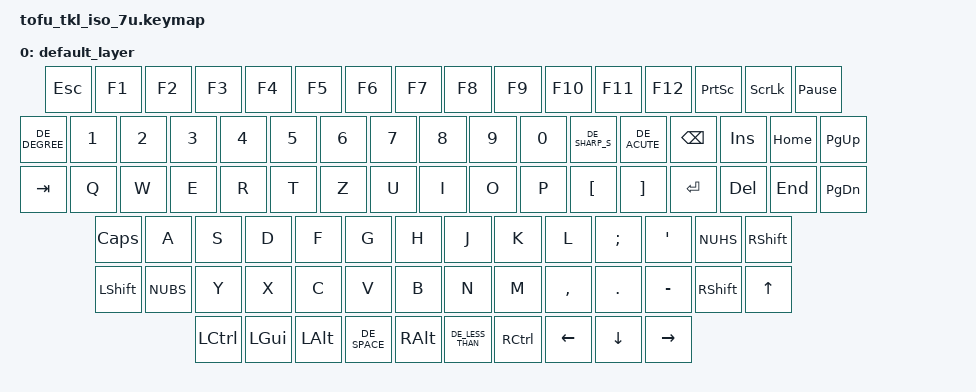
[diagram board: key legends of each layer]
#include "locale/keys_de.h"

#include <behaviors.dtsi>
#include <dt-bindings/zmk/keys.h>
#include <dt-bindings/zmk/pointing.h>
#include <dt-bindings/zmk/bt.h>
#include <dt-bindings/zmk/outputs.h>

/ {
    keymap {
        compatible = "zmk,keymap";

        default_layer {
            bindings = <
                &kp ESC &kp F1 &kp F2 &kp F3 &kp F4 &kp F5 &kp F6 &kp F7 &kp F8 &kp F9 &kp F10 &kp F11 &kp F12 &kp PSCRN &kp SLCK &kp PAUSE_BREAK
                &kp DE_DEGREE &kp N1 &kp N2 &kp N3 &kp N4 &kp N5 &kp N6 &kp N7 &kp N8 &kp N9 &kp N0 &kp DE_SHARP_S &kp DE_ACUTE  &kp BSPC &kp INS &kp HOME &kp PG_UP
                &kp TAB &kp Q &kp W &kp E &kp R &kp T &kp Z &kp U &kp I &kp O &kp P &kp LBKT &kp RBKT &kp RET &kp DEL &kp END &kp PG_DN
                &kp CLCK &kp A &kp S &kp D &kp F &kp G &kp H &kp J &kp K &kp L &kp SEMI &kp SQT &kp NUHS &kp RSHIFT 
                &kp LSHFT &kp NUBS &kp Y &kp X &kp C &kp V &kp B &kp N &kp M &kp COMMA &kp DOT &kp MINUS &kp RSHIFT &kp UP
                &kp LCTRL &kp LGUI &kp LALT &kp DE_SPACE &kp RALT &kp DE_LESS_THAN &kp RCTRL &kp LEFT &kp DOWN &kp RIGHT
            >;
        };

        layer1 { status = "reserved"; };
        layer2 { status = "reserved"; };
        layer3 { status = "reserved"; };
        layer4 { status = "reserved"; };
        layer5 { status = "reserved"; };
        layer6 { status = "reserved"; };
        layer7 { status = "reserved"; };
    };

    behaviors {
        trans: transparent { display-name = "_Trans"; };
        none: none { display-name = "Key(None)"; };
        mo: momentary_layer { display-name = "Layer Momentary"; };
        to: to_layer { display-name = "Layer To"; };
        tog: toggle_layer { display-name = "Layer Toggle"; };
        bootloader_reset: bootloader_reset {
            compatible = "zmk,behavior-hold-tap";
            display-name = "RESET";
            #binding-cells = <2>;
            flavor = "tap-preferred";
            tapping-term-ms = <3000>;
            bindings = <&bootloader>, <&sys_reset>;
        };
    };
};
